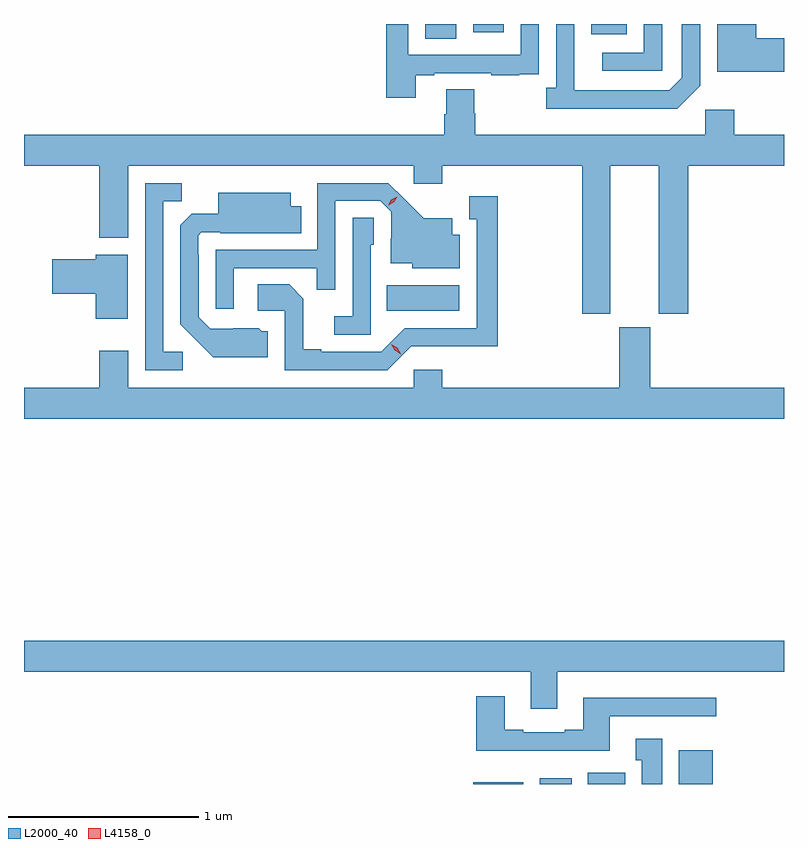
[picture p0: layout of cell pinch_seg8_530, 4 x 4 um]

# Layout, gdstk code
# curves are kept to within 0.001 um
import gdstk
lib = gdstk.Library(unit=1e-6, precision=1e-09)
def R(c, l, rs):  # rectangles x0, y0, x1, y1
    for r in rs: c.add(gdstk.rectangle(r[:2], r[2:], *l))
def P(c, l, *ps):  # polygons
    for p in ps: c.add(gdstk.Polygon(p, *l))
L2000_40 = (2000, 40)
L4158_0 = (4158, 0)

pinch_seg8_530 = lib.new_cell('pinch_seg8_530')
R(pinch_seg8_530, L2000_40, [(151.142,1113.246,151.405,1113.256), (151.493,1113.246,151.66,1113.277), (151.745,1113.246,151.942,1113.304), (152.225,1113.246,152.404,1113.424), (150.688,1115.738,151.069,1115.872), (150.89,1117.168,151.054,1117.246), (151.763,1117.193,151.951,1117.246), (151.142,1117.203,151.303,1117.246)])
P(pinch_seg8_530, L2000_40, [(152.337,1116.921),(152.337,1117.246),(152.241,1117.246),(152.241,1116.963),(152.175,1116.897),(151.675,1116.897),(151.674,1117.246),(151.578,1117.246),(151.578,1116.91),(151.527,1116.91),(151.527,1116.8),(152.216,1116.8)],
  [(150.841,1116.975),(150.937,1116.975),(150.937,1116.987),(151.237,1116.987),(151.237,1116.975),(151.385,1116.975),(151.385,1116.981),(151.487,1116.981),(151.487,1117.09),(151.488,1117.09),(151.488,1117.246),(151.392,1117.246),(151.392,1117.083),(150.801,1117.083),(150.801,1117.246),(150.685,1117.246),(150.685,1116.858),(150.841,1116.858)],
  [(152.778,1117.172),(152.633,1117.172),(152.633,1117.246),(152.426,1117.246),(152.426,1116.994),(152.778,1116.994)],
  [(152.136,1117.246),(152.04,1117.246),(152.04,1117.095),(151.821,1117.095),(151.821,1116.999),(152.136,1116.999)],
  [(151.864,1116.5),(152.12,1116.5),(152.12,1115.721),(152.273,1115.721),(152.273,1116.5),(152.778,1116.5),(152.778,1116.664),(152.516,1116.664),(152.516,1116.796),(152.364,1116.796),(152.364,1116.664),(151.154,1116.664),(151.154,1116.777),(151.149,1116.777),(151.149,1116.902),(151.001,1116.902),(151.001,1116.77),(150.989,1116.77),(150.989,1116.664),(148.778,1116.664),(148.778,1116.5),(149.174,1116.5),(149.174,1116.12),(149.326,1116.12),(149.326,1116.5),(150.828,1116.5),(150.828,1116.405),(150.98,1116.405),(150.98,1116.5),(151.717,1116.5),(151.717,1115.721),(151.864,1115.721)],
  [(149.883,1115.961),(150.319,1115.961),(150.319,1115.848),(150.417,1115.848),(150.417,1116.315),(150.654,1116.315),(150.711,1116.258),(150.711,1116.116),(150.707,1116.116),(150.707,1115.987),(150.822,1115.987),(150.822,1115.96),(151.072,1115.96),(151.072,1116.136),(151.033,1116.136),(151.033,1116.223),(150.881,1116.223),(150.694,1116.408),(150.321,1116.408),(150.321,1116.057),(149.787,1116.057),(149.787,1115.748),(149.883,1115.748)],
  [(149.614,1115.52),(149.511,1115.52),(149.511,1116.313),(149.607,1116.313),(149.607,1116.408),(149.415,1116.408),(149.415,1115.424),(149.614,1115.424)],
  [(150.061,1115.628),(150.03,1115.628),(150.014,1115.644),(149.757,1115.643),(149.697,1115.703),(149.697,1116.032),(149.694,1116.032),(149.694,1116.132),(149.712,1116.15),(149.812,1116.15),(149.812,1116.146),(150.236,1116.146),(150.236,1116.286),(150.181,1116.286),(150.181,1116.358),(149.801,1116.358),(149.801,1116.247),(149.66,1116.247),(149.601,1116.188),(149.601,1115.666),(149.773,1115.492),(150.061,1115.492)],
  [(150.816,1115.55),(151.271,1115.549),(151.271,1116.34),(151.121,1116.34),(151.121,1116.219),(151.16,1116.219),(151.16,1115.646),(150.783,1115.646),(150.657,1115.52),(150.343,1115.52),(150.343,1115.533),(150.249,1115.533),(150.249,1115.8),(150.173,1115.876),(150.009,1115.876),(150.009,1115.736),(150.15,1115.736),(150.15,1115.424),(150.69,1115.424)],
  [(150.603,1116.084),(150.618,1116.084),(150.618,1116.227),(150.507,1116.227),(150.507,1115.707),(150.411,1115.707),(150.411,1115.61),(150.603,1115.61)],
  [(149.323,1116.031),(149.156,1116.031),(149.156,1116.008),(148.926,1116.008),(148.926,1115.825),(149.156,1115.825),(149.156,1115.694),(149.323,1115.694)],
  [(152.778,1115.332),(152.074,1115.332),(152.074,1115.649),(151.91,1115.649),(151.91,1115.332),(150.98,1115.332),(150.98,1115.425),(150.828,1115.425),(150.828,1115.332),(149.326,1115.332),(149.326,1115.527),(149.174,1115.527),(149.174,1115.332),(148.778,1115.332),(148.778,1115.168),(152.778,1115.168)],
  [(151.585,1113.836),(152.778,1113.836),(152.778,1114),(148.778,1114),(148.778,1113.836),(151.445,1113.836),(151.445,1113.642),(151.585,1113.642)],
  [(151.861,1113.603),(152.422,1113.603),(152.422,1113.7),(151.721,1113.7),(151.721,1113.532),(151.625,1113.532),(151.625,1113.519),(151.405,1113.519),(151.405,1113.532),(151.309,1113.532),(151.309,1113.709),(151.157,1113.709),(151.157,1113.422),(151.861,1113.422)],
  [(152.137,1113.484),(151.997,1113.484),(151.997,1113.371),(152.03,1113.371),(152.03,1113.246),(152.137,1113.246)])
P(pinch_seg8_530, L4158_0, [(150.76,1115.509),(150.729,1115.528),(150.711,1115.56),(150.711,1115.56),(150.711,1115.56),(150.743,1115.542),(150.761,1115.51),(150.761,1115.509)],
  [(150.694,1116.291),(150.694,1116.292),(150.711,1116.321),(150.742,1116.336),(150.742,1116.336),(150.742,1116.336),(150.725,1116.307),(150.694,1116.291)])

lib.write_gds('pinch_seg8_530.gds')
